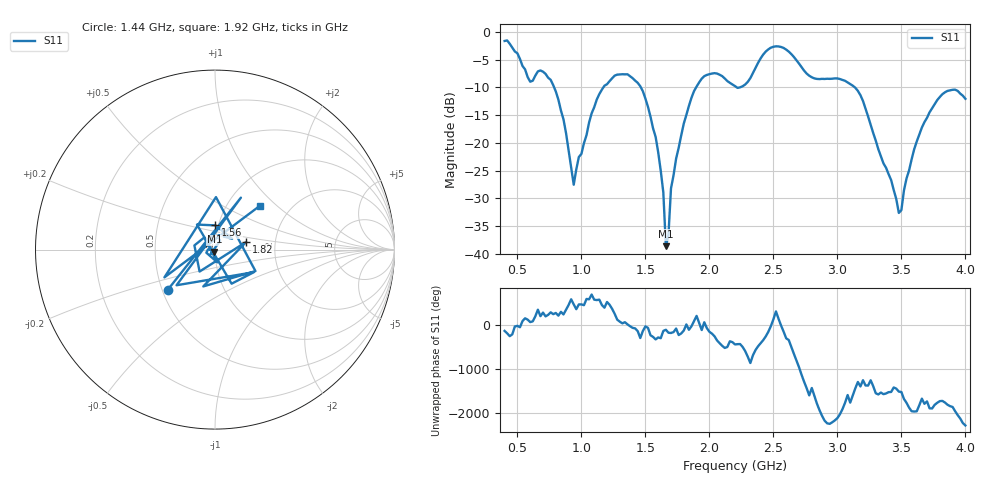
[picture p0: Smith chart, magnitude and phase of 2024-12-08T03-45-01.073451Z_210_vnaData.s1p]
!Created with skrf (http://scikit-rf.org).
# Hz S RI R 50.0
!freq ReS11 ImS11
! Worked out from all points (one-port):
!   181 points, 400 MHz to 4 GHz, reference 50 ohm
!   lowest |S11| = -38.6 dB at 1.66 GHz (marker M1), VSWR 1.02, Z = 49.6 - j1.12 ohm
!   |S11| at or under -10 dB: 786.9 MHz to 1.172 GHz (384.7 MHz wide, 39.3 % of centre); 1.464 GHz to 1.897 GHz (432.1 MHz wide, 25.7 % of centre); 3.136 GHz to end of sweep (the widest 3 of 4)
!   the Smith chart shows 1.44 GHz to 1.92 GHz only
!   S11 on the Smith chart (normalised r, x): 1.44 GHz: 0.53, -0.27; 1.56 GHz: 0.97, +0.27; 1.82 GHz: 1.41, +0.12; 1.92 GHz: 1.41, +0.79
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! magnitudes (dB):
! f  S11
! 400 MHz  -1.6
! 600 MHz  -9.0
! 760 MHz  -8.6
! 860 MHz  -15.8
! 940 MHz  -27.5
! 1.12 GHz  -12.2
! 1.3 GHz  -7.7
! 1.44 GHz  -9.2
! 1.56 GHz  -17.4
! 1.64 GHz  -28.9
! 1.66 GHz  -38.6
! 1.68 GHz  -36.6
! 1.7 GHz  -28.2
! 1.76 GHz  -20.9
! 1.82 GHz  -15.0
! 1.92 GHz  -9.1
! 2.04 GHz  -7.4
! 2.2 GHz  -9.8
! 2.48 GHz  -2.9
! 2.66 GHz  -4.5
! 2.8 GHz  -8.2
! 3.1 GHz  -9.4
! 3.2 GHz  -12.5
! 3.48 GHz  -32.6
! 3.56 GHz  -25.0
! 3.66 GHz  -17.2
! 3.78 GHz  -12.3
! 4 GHz  -12.1
